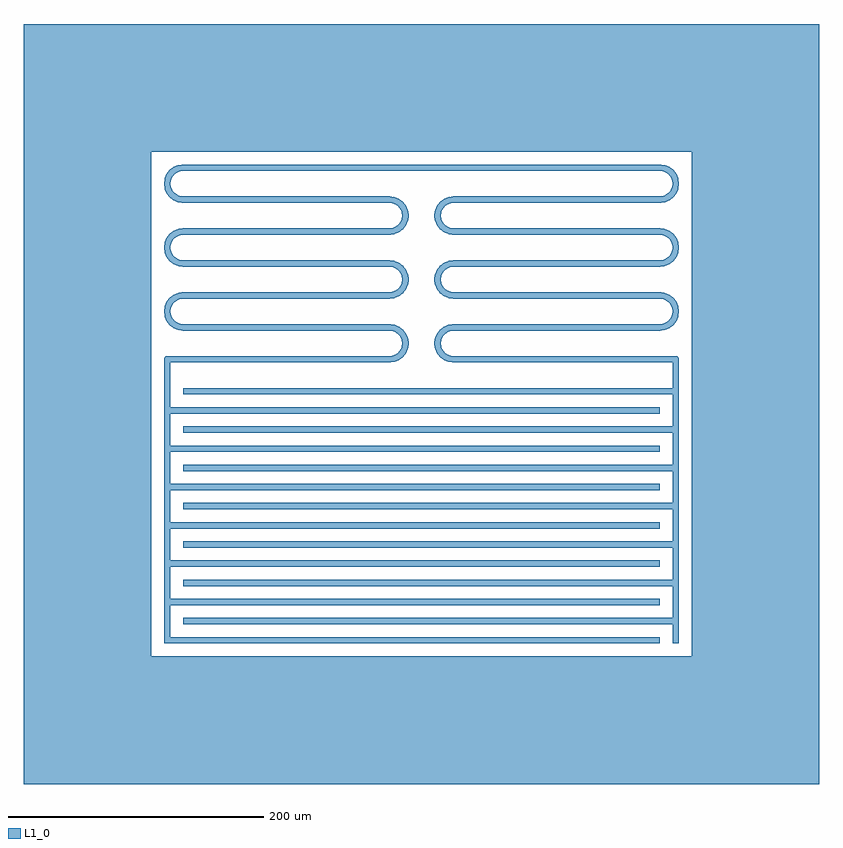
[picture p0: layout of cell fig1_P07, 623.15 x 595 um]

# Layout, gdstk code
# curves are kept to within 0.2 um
import gdstk
lib = gdstk.Library(unit=1e-6, precision=1e-09)
def R(c, l, rs):  # rectangles x0, y0, x1, y1
    for r in rs: c.add(gdstk.rectangle(r[:2], r[2:], *l))
def A(c, l, x, y, w, h, nx, ny, dx, dy):  # array of equal rectangles
    R(c, l, [(x+i*dx, y+j*dy, x+i*dx+w, y+j*dy+h) for i in range(nx) for j in range(ny)])
def P(c, l, *ps):  # polygons
    for p in ps: c.add(gdstk.Polygon(p, *l))
L1_0 = (1, 0)

fig1_p07 = lib.new_cell('fig1_P07')
A(fig1_p07, L1_0, -201.575, 0, 388.15, 5, 1, 7, 0, 30)
A(fig1_p07, L1_0, -186.575, 15, 388.15, 5, 1, 7, 0, 30)
A(fig1_p07, L1_0, -186.575, 245, 161.575, 5, 1, 5, 0, 25)
A(fig1_p07, L1_0, 25, 245, 161.575, 5, 1, 5, 0, 25)
R(fig1_p07, L1_0, [(-311.575,-110,311.575,-10), (-311.575,-10,-211.575,385), (211.575,-10,311.575,385), (-201.575,0,-196.575,200), (196.575,0,201.575,200), (-201.575,197.5,-196.575,222.5), (196.575,197.5,201.575,222.5), (-199.075,220,-25,225), (25,220,199.075,225), (-186.575,370,186.575,375), (-311.575,385,311.575,485)])
P(fig1_p07, L1_0, [(14.979,334.674),(10.021,335.326),(10.447,338.562),(15.405,337.909)],
  [(12.926,335.735),(11.158,336.467),(10.426,338.235),(11.158,340.003),(12.926,340.735),(14.694,340.003),(15.426,338.235),(14.694,336.467)],
  [(12.5,332.5),(10.732,333.232),(10,335),(10.732,336.768),(12.5,337.5),(14.268,336.768),(15,335),(14.268,333.232)],
  [(194.347,347.191),(191.303,351.158),(193.892,353.145),(196.936,349.178)],
  [(190.767,345.616),(188.854,350.236),(191.868,351.484),(193.782,346.865)],
  [(186.901,345.021),(186.249,349.979),(189.484,350.405),(190.137,345.447)],
  [(189.484,369.595),(186.249,370.021),(186.901,374.979),(190.137,374.553)],
  [(191.868,368.516),(188.854,369.764),(190.767,374.384),(193.782,373.135)],
  [(193.892,366.855),(191.303,368.842),(194.347,372.809),(196.936,370.822)],
  [(195.417,364.728),(193.43,367.317),(197.397,370.361),(199.384,367.772)],
  [(196.339,362.279),(195.091,365.293),(199.71,367.207),(200.959,364.192)],
  [(196.596,359.674),(196.17,362.909),(201.128,363.562),(201.554,360.326)],
  [(201.128,356.438),(196.17,357.091),(196.596,360.326),(201.554,359.674)],
  [(186.575,370),(184.807,370.732),(184.075,372.5),(184.807,374.268),(186.575,375),(188.343,374.268),(189.075,372.5),(188.343,370.732)],
  [(189.81,369.574),(188.042,370.306),(187.31,372.074),(188.042,373.842),(189.81,374.574),(191.578,373.842),(192.31,372.074),(191.578,370.306)],
  [(192.825,368.325),(191.057,369.058),(190.325,370.825),(191.057,372.593),(192.825,373.325),(194.593,372.593),(195.325,370.825),(194.593,369.058)],
  [(195.414,366.339),(193.646,367.071),(192.914,368.839),(193.646,370.607),(195.414,371.339),(197.182,370.607),(197.914,368.839),(197.182,367.071)],
  [(197.4,363.75),(195.633,364.482),(194.9,366.25),(195.633,368.018),(197.4,368.75),(199.168,368.018),(199.9,366.25),(199.168,364.482)],
  [(198.649,360.735),(196.881,361.467),(196.149,363.235),(196.881,365.003),(198.649,365.735),(200.417,365.003),(201.149,363.235),(200.417,361.467)],
  [(199.075,357.5),(197.307,358.232),(196.575,360),(197.307,361.768),(199.075,362.5),(200.843,361.768),(201.575,360),(200.843,358.232)],
  [(198.649,354.265),(196.881,354.997),(196.149,356.765),(196.881,358.533),(198.649,359.265),(200.417,358.533),(201.149,356.765),(200.417,354.997)],
  [(197.4,351.25),(195.633,351.982),(194.9,353.75),(195.633,355.518),(197.4,356.25),(199.168,355.518),(199.9,353.75),(199.168,351.982)],
  [(195.414,348.661),(193.646,349.393),(192.914,351.161),(193.646,352.929),(195.414,353.661),(197.182,352.929),(197.914,351.161),(197.182,349.393)],
  [(192.825,346.675),(191.057,347.407),(190.325,349.175),(191.057,350.942),(192.825,351.675),(194.593,350.942),(195.325,349.175),(194.593,347.407)],
  [(189.81,345.426),(188.042,346.158),(187.31,347.926),(188.042,349.694),(189.81,350.426),(191.578,349.694),(192.31,347.926),(191.578,346.158)],
  [(186.575,345),(184.807,345.732),(184.075,347.5),(184.807,349.268),(186.575,350),(188.343,349.268),(189.075,347.5),(188.343,345.732)],
  [(199.71,352.793),(195.091,354.707),(196.339,357.721),(200.959,355.808)],
  [(197.397,349.639),(193.43,352.683),(195.417,355.272),(199.384,352.228)],
  [(19.707,343.516),(17.793,348.135),(20.808,349.384),(22.721,344.764)],
  [(17.683,341.855),(14.639,345.822),(17.228,347.809),(20.272,343.842)],
  [(16.158,339.728),(12.191,342.772),(14.178,345.361),(18.145,342.317)],
  [(25,345),(23.232,345.732),(22.5,347.5),(23.232,349.268),(25,350),(26.768,349.268),(27.5,347.5),(26.768,345.732)],
  [(21.765,344.574),(19.997,345.306),(19.265,347.074),(19.997,348.842),(21.765,349.574),(23.533,348.842),(24.265,347.074),(23.533,345.306)],
  [(18.75,343.325),(16.982,344.058),(16.25,345.825),(16.982,347.593),(18.75,348.325),(20.518,347.593),(21.25,345.825),(20.518,344.058)],
  [(16.161,341.339),(14.393,342.071),(13.661,343.839),(14.393,345.607),(16.161,346.339),(17.929,345.607),(18.661,343.839),(17.929,342.071)],
  [(14.175,338.75),(12.407,339.482),(11.675,341.25),(12.407,343.018),(14.175,343.75),(15.942,343.018),(16.675,341.25),(15.942,339.482)],
  [(15.236,337.279),(10.616,339.192),(11.865,342.207),(16.484,340.293)],
  [(22.091,344.595),(21.438,349.553),(24.674,349.979),(25.326,345.021)],
  [(16.158,239.728),(12.191,242.772),(14.178,245.361),(18.145,242.317)],
  [(15.236,237.279),(10.616,239.192),(11.865,242.207),(16.484,240.293)],
  [(14.979,234.674),(10.021,235.326),(10.447,238.562),(15.405,237.909)],
  [(10.447,231.438),(10.021,234.674),(14.979,235.326),(15.405,232.091)],
  [(11.865,227.793),(10.616,230.808),(15.236,232.721),(16.484,229.707)],
  [(14.178,224.639),(12.191,227.228),(16.158,230.272),(18.145,227.683)],
  [(17.228,222.191),(14.639,224.178),(17.683,228.145),(20.272,226.158)],
  [(20.808,220.616),(17.793,221.865),(19.707,226.484),(22.721,225.236)],
  [(24.674,220.021),(21.438,220.447),(22.091,225.405),(25.326,224.979)],
  [(20.808,320.616),(17.793,321.865),(19.707,326.484),(22.721,325.236)],
  [(24.674,320.021),(21.438,320.447),(22.091,325.405),(25.326,324.979)],
  [(10.447,331.438),(10.021,334.674),(14.979,335.326),(15.405,332.091)],
  [(11.865,327.793),(10.616,330.808),(15.236,332.721),(16.484,329.707)],
  [(22.091,294.595),(21.438,299.553),(24.674,299.979),(25.326,295.021)],
  [(19.707,293.516),(17.793,298.135),(20.808,299.384),(22.721,294.764)],
  [(17.683,291.855),(14.639,295.822),(17.228,297.809),(20.272,293.842)],
  [(16.158,289.728),(12.191,292.772),(14.178,295.361),(18.145,292.317)],
  [(15.236,287.279),(10.616,289.192),(11.865,292.207),(16.484,290.293)],
  [(14.979,284.674),(10.021,285.326),(10.447,288.562),(15.405,287.909)],
  [(10.447,281.438),(10.021,284.674),(14.979,285.326),(15.405,282.091)],
  [(11.865,277.793),(10.616,280.808),(15.236,282.721),(16.484,279.707)],
  [(14.178,274.639),(12.191,277.228),(16.158,280.272),(18.145,277.683)],
  [(17.228,272.191),(14.639,274.178),(17.683,278.145),(20.272,276.158)],
  [(20.808,270.616),(17.793,271.865),(19.707,276.484),(22.721,275.236)],
  [(24.674,270.021),(21.438,270.447),(22.091,275.405),(25.326,274.979)],
  [(14.178,324.639),(12.191,327.228),(16.158,330.272),(18.145,327.683)],
  [(17.228,322.191),(14.639,324.178),(17.683,328.145),(20.272,326.158)],
  [(22.091,244.595),(21.438,249.553),(24.674,249.979),(25.326,245.021)],
  [(19.707,243.516),(17.793,248.135),(20.808,249.384),(22.721,244.764)],
  [(17.683,241.855),(14.639,245.822),(17.228,247.809),(20.272,243.842)],
  [(12.926,329.265),(11.158,329.997),(10.426,331.765),(11.158,333.533),(12.926,334.265),(14.694,333.533),(15.426,331.765),(14.694,329.997)],
  [(14.175,326.25),(12.407,326.982),(11.675,328.75),(12.407,330.518),(14.175,331.25),(15.942,330.518),(16.675,328.75),(15.942,326.982)],
  [(16.161,323.661),(14.393,324.393),(13.661,326.161),(14.393,327.929),(16.161,328.661),(17.929,327.929),(18.661,326.161),(17.929,324.393)],
  [(18.75,321.675),(16.982,322.407),(16.25,324.175),(16.982,325.942),(18.75,326.675),(20.518,325.942),(21.25,324.175),(20.518,322.407)],
  [(21.765,320.426),(19.997,321.158),(19.265,322.926),(19.997,324.694),(21.765,325.426),(23.533,324.694),(24.265,322.926),(23.533,321.158)],
  [(25,320),(23.232,320.732),(22.5,322.5),(23.232,324.268),(25,325),(26.768,324.268),(27.5,322.5),(26.768,320.732)],
  [(25,295),(23.232,295.732),(22.5,297.5),(23.232,299.268),(25,300),(26.768,299.268),(27.5,297.5),(26.768,295.732)],
  [(21.765,294.574),(19.997,295.306),(19.265,297.074),(19.997,298.842),(21.765,299.574),(23.533,298.842),(24.265,297.074),(23.533,295.306)],
  [(18.75,293.325),(16.982,294.058),(16.25,295.825),(16.982,297.593),(18.75,298.325),(20.518,297.593),(21.25,295.825),(20.518,294.058)],
  [(16.161,291.339),(14.393,292.071),(13.661,293.839),(14.393,295.607),(16.161,296.339),(17.929,295.607),(18.661,293.839),(17.929,292.071)],
  [(14.175,288.75),(12.407,289.482),(11.675,291.25),(12.407,293.018),(14.175,293.75),(15.942,293.018),(16.675,291.25),(15.942,289.482)],
  [(12.926,285.735),(11.158,286.467),(10.426,288.235),(11.158,290.003),(12.926,290.735),(14.694,290.003),(15.426,288.235),(14.694,286.467)],
  [(12.5,282.5),(10.732,283.232),(10,285),(10.732,286.768),(12.5,287.5),(14.268,286.768),(15,285),(14.268,283.232)],
  [(12.926,279.265),(11.158,279.997),(10.426,281.765),(11.158,283.533),(12.926,284.265),(14.694,283.533),(15.426,281.765),(14.694,279.997)],
  [(14.175,276.25),(12.407,276.982),(11.675,278.75),(12.407,280.518),(14.175,281.25),(15.942,280.518),(16.675,278.75),(15.942,276.982)],
  [(16.161,273.661),(14.393,274.393),(13.661,276.161),(14.393,277.929),(16.161,278.661),(17.929,277.929),(18.661,276.161),(17.929,274.393)],
  [(18.75,271.675),(16.982,272.407),(16.25,274.175),(16.982,275.942),(18.75,276.675),(20.518,275.942),(21.25,274.175),(20.518,272.407)],
  [(21.765,270.426),(19.997,271.158),(19.265,272.926),(19.997,274.694),(21.765,275.426),(23.533,274.694),(24.265,272.926),(23.533,271.158)],
  [(25,270),(23.232,270.732),(22.5,272.5),(23.232,274.268),(25,275),(26.768,274.268),(27.5,272.5),(26.768,270.732)],
  [(25,245),(23.232,245.732),(22.5,247.5),(23.232,249.268),(25,250),(26.768,249.268),(27.5,247.5),(26.768,245.732)],
  [(21.765,244.574),(19.997,245.306),(19.265,247.074),(19.997,248.842),(21.765,249.574),(23.533,248.842),(24.265,247.074),(23.533,245.306)],
  [(18.75,243.325),(16.982,244.058),(16.25,245.825),(16.982,247.593),(18.75,248.325),(20.518,247.593),(21.25,245.825),(20.518,244.058)],
  [(16.161,241.339),(14.393,242.071),(13.661,243.839),(14.393,245.607),(16.161,246.339),(17.929,245.607),(18.661,243.839),(17.929,242.071)],
  [(14.175,238.75),(12.407,239.482),(11.675,241.25),(12.407,243.018),(14.175,243.75),(15.942,243.018),(16.675,241.25),(15.942,239.482)],
  [(12.926,235.735),(11.158,236.467),(10.426,238.235),(11.158,240.003),(12.926,240.735),(14.694,240.003),(15.426,238.235),(14.694,236.467)],
  [(12.5,232.5),(10.732,233.232),(10,235),(10.732,236.768),(12.5,237.5),(14.268,236.768),(15,235),(14.268,233.232)],
  [(12.926,229.265),(11.158,229.997),(10.426,231.765),(11.158,233.533),(12.926,234.265),(14.694,233.533),(15.426,231.765),(14.694,229.997)],
  [(14.175,226.25),(12.407,226.982),(11.675,228.75),(12.407,230.518),(14.175,231.25),(15.942,230.518),(16.675,228.75),(15.942,226.982)],
  [(16.161,223.661),(14.393,224.393),(13.661,226.161),(14.393,227.929),(16.161,228.661),(17.929,227.929),(18.661,226.161),(17.929,224.393)],
  [(18.75,221.675),(16.982,222.407),(16.25,224.175),(16.982,225.942),(18.75,226.675),(20.518,225.942),(21.25,224.175),(20.518,222.407)],
  [(21.765,220.426),(19.997,221.158),(19.265,222.926),(19.997,224.694),(21.765,225.426),(23.533,224.694),(24.265,222.926),(23.533,221.158)],
  [(25,220),(23.232,220.732),(22.5,222.5),(23.232,224.268),(25,225),(26.768,224.268),(27.5,222.5),(26.768,220.732)],
  [(189.81,319.574),(188.042,320.306),(187.31,322.074),(188.042,323.842),(189.81,324.574),(191.578,323.842),(192.31,322.074),(191.578,320.306)],
  [(192.825,318.325),(191.057,319.058),(190.325,320.825),(191.057,322.593),(192.825,323.325),(194.593,322.593),(195.325,320.825),(194.593,319.058)],
  [(195.414,316.339),(193.646,317.071),(192.914,318.839),(193.646,320.607),(195.414,321.339),(197.182,320.607),(197.914,318.839),(197.182,317.071)],
  [(197.4,313.75),(195.633,314.482),(194.9,316.25),(195.633,318.018),(197.4,318.75),(199.168,318.018),(199.9,316.25),(199.168,314.482)],
  [(198.649,310.735),(196.881,311.467),(196.149,313.235),(196.881,315.003),(198.649,315.735),(200.417,315.003),(201.149,313.235),(200.417,311.467)],
  [(199.075,307.5),(197.307,308.232),(196.575,310),(197.307,311.768),(199.075,312.5),(200.843,311.768),(201.575,310),(200.843,308.232)],
  [(198.649,304.265),(196.881,304.997),(196.149,306.765),(196.881,308.533),(198.649,309.265),(200.417,308.533),(201.149,306.765),(200.417,304.997)],
  [(197.4,301.25),(195.633,301.982),(194.9,303.75),(195.633,305.518),(197.4,306.25),(199.168,305.518),(199.9,303.75),(199.168,301.982)],
  [(195.414,298.661),(193.646,299.393),(192.914,301.161),(193.646,302.929),(195.414,303.661),(197.182,302.929),(197.914,301.161),(197.182,299.393)],
  [(192.825,296.675),(191.057,297.407),(190.325,299.175),(191.057,300.942),(192.825,301.675),(194.593,300.942),(195.325,299.175),(194.593,297.407)],
  [(189.81,295.426),(188.042,296.158),(187.31,297.926),(188.042,299.694),(189.81,300.426),(191.578,299.694),(192.31,297.926),(191.578,296.158)],
  [(186.575,295),(184.807,295.732),(184.075,297.5),(184.807,299.268),(186.575,300),(188.343,299.268),(189.075,297.5),(188.343,295.732)],
  [(193.892,266.855),(191.303,268.842),(194.347,272.809),(196.936,270.822)],
  [(195.417,264.728),(193.43,267.317),(197.397,270.361),(199.384,267.772)],
  [(196.339,262.279),(195.091,265.293),(199.71,267.207),(200.959,264.192)],
  [(196.596,259.674),(196.17,262.909),(201.128,263.562),(201.554,260.326)],
  [(201.128,256.438),(196.17,257.091),(196.596,260.326),(201.554,259.674)],
  [(199.71,252.793),(195.091,254.707),(196.339,257.721),(200.959,255.808)],
  [(197.397,249.639),(193.43,252.683),(195.417,255.272),(199.384,252.228)],
  [(194.347,247.191),(191.303,251.158),(193.892,253.145),(196.936,249.178)],
  [(190.767,245.616),(188.854,250.236),(191.868,251.484),(193.782,246.865)],
  [(186.901,245.021),(186.249,249.979),(189.484,250.405),(190.137,245.447)],
  [(189.484,319.595),(186.249,320.021),(186.901,324.979),(190.137,324.553)],
  [(191.868,318.516),(188.854,319.764),(190.767,324.384),(193.782,323.135)],
  [(193.892,316.855),(191.303,318.842),(194.347,322.809),(196.936,320.822)],
  [(186.575,270),(184.807,270.732),(184.075,272.5),(184.807,274.268),(186.575,275),(188.343,274.268),(189.075,272.5),(188.343,270.732)],
  [(189.81,269.574),(188.042,270.306),(187.31,272.074),(188.042,273.842),(189.81,274.574),(191.578,273.842),(192.31,272.074),(191.578,270.306)],
  [(192.825,268.325),(191.057,269.058),(190.325,270.825),(191.057,272.593),(192.825,273.325),(194.593,272.593),(195.325,270.825),(194.593,269.058)],
  [(195.414,266.339),(193.646,267.071),(192.914,268.839),(193.646,270.607),(195.414,271.339),(197.182,270.607),(197.914,268.839),(197.182,267.071)],
  [(197.4,263.75),(195.633,264.482),(194.9,266.25),(195.633,268.018),(197.4,268.75),(199.168,268.018),(199.9,266.25),(199.168,264.482)],
  [(198.649,260.735),(196.881,261.467),(196.149,263.235),(196.881,265.003),(198.649,265.735),(200.417,265.003),(201.149,263.235),(200.417,261.467)],
  [(199.075,257.5),(197.307,258.232),(196.575,260),(197.307,261.768),(199.075,262.5),(200.843,261.768),(201.575,260),(200.843,258.232)],
  [(198.649,254.265),(196.881,254.997),(196.149,256.765),(196.881,258.533),(198.649,259.265),(200.417,258.533),(201.149,256.765),(200.417,254.997)],
  [(197.4,251.25),(195.633,251.982),(194.9,253.75),(195.633,255.518),(197.4,256.25),(199.168,255.518),(199.9,253.75),(199.168,251.982)],
  [(195.414,248.661),(193.646,249.393),(192.914,251.161),(193.646,252.929),(195.414,253.661),(197.182,252.929),(197.914,251.161),(197.182,249.393)],
  [(192.825,246.675),(191.057,247.407),(190.325,249.175),(191.057,250.942),(192.825,251.675),(194.593,250.942),(195.325,249.175),(194.593,247.407)],
  [(189.81,245.426),(188.042,246.158),(187.31,247.926),(188.042,249.694),(189.81,250.426),(191.578,249.694),(192.31,247.926),(191.578,246.158)],
  [(186.575,245),(184.807,245.732),(184.075,247.5),(184.807,249.268),(186.575,250),(188.343,249.268),(189.075,247.5),(188.343,245.732)],
  [(195.417,314.728),(193.43,317.317),(197.397,320.361),(199.384,317.772)],
  [(196.339,312.279),(195.091,315.293),(199.71,317.207),(200.959,314.192)],
  [(196.596,309.674),(196.17,312.909),(201.128,313.562),(201.554,310.326)],
  [(201.128,306.438),(196.17,307.091),(196.596,310.326),(201.554,309.674)],
  [(199.71,302.793),(195.091,304.707),(196.339,307.721),(200.959,305.808)],
  [(197.397,299.639),(193.43,302.683),(195.417,305.272),(199.384,302.228)],
  [(194.347,297.191),(191.303,301.158),(193.892,303.145),(196.936,299.178)],
  [(190.767,295.616),(188.854,300.236),(191.868,301.484),(193.782,296.865)],
  [(186.901,295.021),(186.249,299.979),(189.484,300.405),(190.137,295.447)],
  [(189.484,269.595),(186.249,270.021),(186.901,274.979),(190.137,274.553)],
  [(191.868,268.516),(188.854,269.764),(190.767,274.384),(193.782,273.135)],
  [(186.575,320),(184.807,320.732),(184.075,322.5),(184.807,324.268),(186.575,325),(188.343,324.268),(189.075,322.5),(188.343,320.732)],
  [(199.075,220),(197.307,220.732),(196.575,222.5),(197.307,224.268),(199.075,225),(200.843,224.268),(201.575,222.5),(200.843,220.732)],
  [(-12.5,332.5),(-14.268,333.232),(-15,335),(-14.268,336.768),(-12.5,337.5),(-10.732,336.768),(-10,335),(-10.732,333.232)],
  [(-12.926,335.735),(-14.694,336.467),(-15.426,338.235),(-14.694,340.003),(-12.926,340.735),(-11.158,340.003),(-10.426,338.235),(-11.158,336.467)],
  [(-14.979,334.674),(-15.405,337.909),(-10.447,338.562),(-10.021,335.326)],
  [(-18.75,343.325),(-20.518,344.058),(-21.25,345.825),(-20.518,347.593),(-18.75,348.325),(-16.982,347.593),(-16.25,345.825),(-16.982,344.058)],
  [(-21.765,344.574),(-23.533,345.306),(-24.265,347.074),(-23.533,348.842),(-21.765,349.574),(-19.997,348.842),(-19.265,347.074),(-19.997,345.306)],
  [(-25,345),(-26.768,345.732),(-27.5,347.5),(-26.768,349.268),(-25,350),(-23.232,349.268),(-22.5,347.5),(-23.232,345.732)],
  [(-14.175,338.75),(-15.942,339.482),(-16.675,341.25),(-15.942,343.018),(-14.175,343.75),(-12.407,343.018),(-11.675,341.25),(-12.407,339.482)],
  [(-15.236,337.279),(-16.484,340.293),(-11.865,342.207),(-10.616,339.192)],
  [(-16.158,339.728),(-18.145,342.317),(-14.178,345.361),(-12.191,342.772)],
  [(-17.683,341.855),(-20.272,343.842),(-17.228,347.809),(-14.639,345.822)],
  [(-19.707,343.516),(-22.721,344.764),(-20.808,349.384),(-17.793,348.135)],
  [(-22.091,344.595),(-25.326,345.021),(-24.674,349.979),(-21.438,349.553)],
  [(-16.161,341.339),(-17.929,342.071),(-18.661,343.839),(-17.929,345.607),(-16.161,346.339),(-14.393,345.607),(-13.661,343.839),(-14.393,342.071)],
  [(-186.575,370),(-188.343,370.732),(-189.075,372.5),(-188.343,374.268),(-186.575,375),(-184.807,374.268),(-184.075,372.5),(-184.807,370.732)],
  [(-186.575,345),(-188.343,345.732),(-189.075,347.5),(-188.343,349.268),(-186.575,350),(-184.807,349.268),(-184.075,347.5),(-184.807,345.732)],
  [(-189.81,345.426),(-191.578,346.158),(-192.31,347.926),(-191.578,349.694),(-189.81,350.426),(-188.042,349.694),(-187.31,347.926),(-188.042,346.158)],
  [(-192.825,346.675),(-194.593,347.407),(-195.325,349.175),(-194.593,350.942),(-192.825,351.675),(-191.057,350.942),(-190.325,349.175),(-191.057,347.407)],
  [(-195.414,348.661),(-197.182,349.393),(-197.914,351.161),(-197.182,352.929),(-195.414,353.661),(-193.646,352.929),(-192.914,351.161),(-193.646,349.393)],
  [(-197.4,351.25),(-199.168,351.982),(-199.9,353.75),(-199.168,355.518),(-197.4,356.25),(-195.633,355.518),(-194.9,353.75),(-195.633,351.982)],
  [(-198.649,354.265),(-200.417,354.997),(-201.149,356.765),(-200.417,358.533),(-198.649,359.265),(-196.881,358.533),(-196.149,356.765),(-196.881,354.997)],
  [(-199.075,357.5),(-200.843,358.232),(-201.575,360),(-200.843,361.768),(-199.075,362.5),(-197.307,361.768),(-196.575,360),(-197.307,358.232)],
  [(-198.649,360.735),(-200.417,361.467),(-201.149,363.235),(-200.417,365.003),(-198.649,365.735),(-196.881,365.003),(-196.149,363.235),(-196.881,361.467)],
  [(-197.4,363.75),(-199.168,364.482),(-199.9,366.25),(-199.168,368.018),(-197.4,368.75),(-195.633,368.018),(-194.9,366.25),(-195.633,364.482)],
  [(-195.414,366.339),(-197.182,367.071),(-197.914,368.839),(-197.182,370.607),(-195.414,371.339),(-193.646,370.607),(-192.914,368.839),(-193.646,367.071)],
  [(-192.825,368.325),(-194.593,369.058),(-195.325,370.825),(-194.593,372.593),(-192.825,373.325),(-191.057,372.593),(-190.325,370.825),(-191.057,369.058)],
  [(-189.81,369.574),(-191.578,370.306),(-192.31,372.074),(-191.578,373.842),(-189.81,374.574),(-188.042,373.842),(-187.31,372.074),(-188.042,370.306)],
  [(-186.901,345.021),(-190.137,345.447),(-189.484,350.405),(-186.249,349.979)],
  [(-190.767,345.616),(-193.782,346.865),(-191.868,351.484),(-188.854,350.236)],
  [(-194.347,347.191),(-196.936,349.178),(-193.892,353.145),(-191.303,351.158)],
  [(-197.397,349.639),(-199.384,352.228),(-195.417,355.272),(-193.43,352.683)],
  [(-199.71,352.793),(-200.959,355.808),(-196.339,357.721),(-195.091,354.707)],
  [(-201.128,356.438),(-201.554,359.674),(-196.596,360.326),(-196.17,357.091)],
  [(-196.596,359.674),(-201.554,360.326),(-201.128,363.562),(-196.17,362.909)],
  [(-196.339,362.279),(-200.959,364.192),(-199.71,367.207),(-195.091,365.293)],
  [(-195.417,364.728),(-199.384,367.772),(-197.397,370.361),(-193.43,367.317)],
  [(-193.892,366.855),(-196.936,370.822),(-194.347,372.809),(-191.303,368.842)],
  [(-191.868,368.516),(-193.782,373.135),(-190.767,374.384),(-188.854,369.764)],
  [(-189.484,369.595),(-190.137,374.553),(-186.901,374.979),(-186.249,370.021)],
  [(-195.414,298.661),(-197.182,299.393),(-197.914,301.161),(-197.182,302.929),(-195.414,303.661),(-193.646,302.929),(-192.914,301.161),(-193.646,299.393)],
  [(-197.4,301.25),(-199.168,301.982),(-199.9,303.75),(-199.168,305.518),(-197.4,306.25),(-195.633,305.518),(-194.9,303.75),(-195.633,301.982)],
  [(-198.649,304.265),(-200.417,304.997),(-201.149,306.765),(-200.417,308.533),(-198.649,309.265),(-196.881,308.533),(-196.149,306.765),(-196.881,304.997)],
  [(-199.075,307.5),(-200.843,308.232),(-201.575,310),(-200.843,311.768),(-199.075,312.5),(-197.307,311.768),(-196.575,310),(-197.307,308.232)],
  [(-198.649,310.735),(-200.417,311.467),(-201.149,313.235),(-200.417,315.003),(-198.649,315.735),(-196.881,315.003),(-196.149,313.235),(-196.881,311.467)],
  [(-186.901,245.021),(-190.137,245.447),(-189.484,250.405),(-186.249,249.979)],
  [(-190.767,245.616),(-193.782,246.865),(-191.868,251.484),(-188.854,250.236)],
  [(-194.347,247.191),(-196.936,249.178),(-193.892,253.145),(-191.303,251.158)],
  [(-197.397,249.639),(-199.384,252.228),(-195.417,255.272),(-193.43,252.683)],
  [(-199.71,252.793),(-200.959,255.808),(-196.339,257.721),(-195.091,254.707)],
  [(-201.128,256.438),(-201.554,259.674),(-196.596,260.326),(-196.17,257.091)],
  [(-196.596,259.674),(-201.554,260.326),(-201.128,263.562),(-196.17,262.909)],
  [(-196.339,262.279),(-200.959,264.192),(-199.71,267.207),(-195.091,265.293)],
  [(-195.417,264.728),(-199.384,267.772),(-197.397,270.361),(-193.43,267.317)],
  [(-193.892,266.855),(-196.936,270.822),(-194.347,272.809),(-191.303,268.842)],
  [(-191.868,268.516),(-193.782,273.135),(-190.767,274.384),(-188.854,269.764)],
  [(-189.484,269.595),(-190.137,274.553),(-186.901,274.979),(-186.249,270.021)],
  [(-197.4,313.75),(-199.168,314.482),(-199.9,316.25),(-199.168,318.018),(-197.4,318.75),(-195.633,318.018),(-194.9,316.25),(-195.633,314.482)],
  [(-195.414,316.339),(-197.182,317.071),(-197.914,318.839),(-197.182,320.607),(-195.414,321.339),(-193.646,320.607),(-192.914,318.839),(-193.646,317.071)],
  [(-186.901,295.021),(-190.137,295.447),(-189.484,300.405),(-186.249,299.979)],
  [(-190.767,295.616),(-193.782,296.865),(-191.868,301.484),(-188.854,300.236)],
  [(-194.347,297.191),(-196.936,299.178),(-193.892,303.145),(-191.303,301.158)],
  [(-197.397,299.639),(-199.384,302.228),(-195.417,305.272),(-193.43,302.683)],
  [(-199.71,302.793),(-200.959,305.808),(-196.339,307.721),(-195.091,304.707)],
  [(-201.128,306.438),(-201.554,309.674),(-196.596,310.326),(-196.17,307.091)],
  [(-196.596,309.674),(-201.554,310.326),(-201.128,313.562),(-196.17,312.909)],
  [(-196.339,312.279),(-200.959,314.192),(-199.71,317.207),(-195.091,315.293)],
  [(-195.417,314.728),(-199.384,317.772),(-197.397,320.361),(-193.43,317.317)],
  [(-193.892,316.855),(-196.936,320.822),(-194.347,322.809),(-191.303,318.842)],
  [(-191.868,318.516),(-193.782,323.135),(-190.767,324.384),(-188.854,319.764)],
  [(-189.484,319.595),(-190.137,324.553),(-186.901,324.979),(-186.249,320.021)],
  [(-192.825,318.325),(-194.593,319.058),(-195.325,320.825),(-194.593,322.593),(-192.825,323.325),(-191.057,322.593),(-190.325,320.825),(-191.057,319.058)],
  [(-189.81,319.574),(-191.578,320.306),(-192.31,322.074),(-191.578,323.842),(-189.81,324.574),(-188.042,323.842),(-187.31,322.074),(-188.042,320.306)],
  [(-186.575,320),(-188.343,320.732),(-189.075,322.5),(-188.343,324.268),(-186.575,325),(-184.807,324.268),(-184.075,322.5),(-184.807,320.732)],
  [(-199.075,220),(-200.843,220.732),(-201.575,222.5),(-200.843,224.268),(-199.075,225),(-197.307,224.268),(-196.575,222.5),(-197.307,220.732)],
  [(-186.575,245),(-188.343,245.732),(-189.075,247.5),(-188.343,249.268),(-186.575,250),(-184.807,249.268),(-184.075,247.5),(-184.807,245.732)],
  [(-189.81,245.426),(-191.578,246.158),(-192.31,247.926),(-191.578,249.694),(-189.81,250.426),(-188.042,249.694),(-187.31,247.926),(-188.042,246.158)],
  [(-192.825,246.675),(-194.593,247.407),(-195.325,249.175),(-194.593,250.942),(-192.825,251.675),(-191.057,250.942),(-190.325,249.175),(-191.057,247.407)],
  [(-195.414,248.661),(-197.182,249.393),(-197.914,251.161),(-197.182,252.929),(-195.414,253.661),(-193.646,252.929),(-192.914,251.161),(-193.646,249.393)],
  [(-197.4,251.25),(-199.168,251.982),(-199.9,253.75),(-199.168,255.518),(-197.4,256.25),(-195.633,255.518),(-194.9,253.75),(-195.633,251.982)],
  [(-198.649,254.265),(-200.417,254.997),(-201.149,256.765),(-200.417,258.533),(-198.649,259.265),(-196.881,258.533),(-196.149,256.765),(-196.881,254.997)],
  [(-199.075,257.5),(-200.843,258.232),(-201.575,260),(-200.843,261.768),(-199.075,262.5),(-197.307,261.768),(-196.575,260),(-197.307,258.232)],
  [(-198.649,260.735),(-200.417,261.467),(-201.149,263.235),(-200.417,265.003),(-198.649,265.735),(-196.881,265.003),(-196.149,263.235),(-196.881,261.467)],
  [(-197.4,263.75),(-199.168,264.482),(-199.9,266.25),(-199.168,268.018),(-197.4,268.75),(-195.633,268.018),(-194.9,266.25),(-195.633,264.482)],
  [(-195.414,266.339),(-197.182,267.071),(-197.914,268.839),(-197.182,270.607),(-195.414,271.339),(-193.646,270.607),(-192.914,268.839),(-193.646,267.071)],
  [(-192.825,268.325),(-194.593,269.058),(-195.325,270.825),(-194.593,272.593),(-192.825,273.325),(-191.057,272.593),(-190.325,270.825),(-191.057,269.058)],
  [(-189.81,269.574),(-191.578,270.306),(-192.31,272.074),(-191.578,273.842),(-189.81,274.574),(-188.042,273.842),(-187.31,272.074),(-188.042,270.306)],
  [(-186.575,270),(-188.343,270.732),(-189.075,272.5),(-188.343,274.268),(-186.575,275),(-184.807,274.268),(-184.075,272.5),(-184.807,270.732)],
  [(-186.575,295),(-188.343,295.732),(-189.075,297.5),(-188.343,299.268),(-186.575,300),(-184.807,299.268),(-184.075,297.5),(-184.807,295.732)],
  [(-189.81,295.426),(-191.578,296.158),(-192.31,297.926),(-191.578,299.694),(-189.81,300.426),(-188.042,299.694),(-187.31,297.926),(-188.042,296.158)],
  [(-192.825,296.675),(-194.593,297.407),(-195.325,299.175),(-194.593,300.942),(-192.825,301.675),(-191.057,300.942),(-190.325,299.175),(-191.057,297.407)],
  [(-25,245),(-26.768,245.732),(-27.5,247.5),(-26.768,249.268),(-25,250),(-23.232,249.268),(-22.5,247.5),(-23.232,245.732)],
  [(-25,320),(-26.768,320.732),(-27.5,322.5),(-26.768,324.268),(-25,325),(-23.232,324.268),(-22.5,322.5),(-23.232,320.732)],
  [(-21.765,320.426),(-23.533,321.158),(-24.265,322.926),(-23.533,324.694),(-21.765,325.426),(-19.997,324.694),(-19.265,322.926),(-19.997,321.158)],
  [(-18.75,321.675),(-20.518,322.407),(-21.25,324.175),(-20.518,325.942),(-18.75,326.675),(-16.982,325.942),(-16.25,324.175),(-16.982,322.407)],
  [(-16.161,323.661),(-17.929,324.393),(-18.661,326.161),(-17.929,327.929),(-16.161,328.661),(-14.393,327.929),(-13.661,326.161),(-14.393,324.393)],
  [(-14.175,326.25),(-15.942,326.982),(-16.675,328.75),(-15.942,330.518),(-14.175,331.25),(-12.407,330.518),(-11.675,328.75),(-12.407,326.982)],
  [(-12.926,329.265),(-14.694,329.997),(-15.426,331.765),(-14.694,333.533),(-12.926,334.265),(-11.158,333.533),(-10.426,331.765),(-11.158,329.997)],
  [(-25,270),(-26.768,270.732),(-27.5,272.5),(-26.768,274.268),(-25,275),(-23.232,274.268),(-22.5,272.5),(-23.232,270.732)],
  [(-21.765,270.426),(-23.533,271.158),(-24.265,272.926),(-23.533,274.694),(-21.765,275.426),(-19.997,274.694),(-19.265,272.926),(-19.997,271.158)],
  [(-18.75,271.675),(-20.518,272.407),(-21.25,274.175),(-20.518,275.942),(-18.75,276.675),(-16.982,275.942),(-16.25,274.175),(-16.982,272.407)],
  [(-16.161,273.661),(-17.929,274.393),(-18.661,276.161),(-17.929,277.929),(-16.161,278.661),(-14.393,277.929),(-13.661,276.161),(-14.393,274.393)],
  [(-24.674,270.021),(-25.326,274.979),(-22.091,275.405),(-21.438,270.447)],
  [(-20.808,270.616),(-22.721,275.236),(-19.707,276.484),(-17.793,271.865)],
  [(-17.228,272.191),(-20.272,276.158),(-17.683,278.145),(-14.639,274.178)],
  [(-14.178,274.639),(-18.145,277.683),(-16.158,280.272),(-12.191,277.228)],
  [(-11.865,277.793),(-16.484,279.707),(-15.236,282.721),(-10.616,280.808)],
  [(-10.447,281.438),(-15.405,282.091),(-14.979,285.326),(-10.021,284.674)],
  [(-14.979,284.674),(-15.405,287.909),(-10.447,288.562),(-10.021,285.326)],
  [(-15.236,287.279),(-16.484,290.293),(-11.865,292.207),(-10.616,289.192)],
  [(-16.158,289.728),(-18.145,292.317),(-14.178,295.361),(-12.191,292.772)],
  [(-17.683,291.855),(-20.272,293.842),(-17.228,297.809),(-14.639,295.822)],
  [(-19.707,293.516),(-22.721,294.764),(-20.808,299.384),(-17.793,298.135)],
  [(-22.091,294.595),(-25.326,295.021),(-24.674,299.979),(-21.438,299.553)],
  [(-14.175,276.25),(-15.942,276.982),(-16.675,278.75),(-15.942,280.518),(-14.175,281.25),(-12.407,280.518),(-11.675,278.75),(-12.407,276.982)],
  [(-12.926,279.265),(-14.694,279.997),(-15.426,281.765),(-14.694,283.533),(-12.926,284.265),(-11.158,283.533),(-10.426,281.765),(-11.158,279.997)],
  [(-12.5,282.5),(-14.268,283.232),(-15,285),(-14.268,286.768),(-12.5,287.5),(-10.732,286.768),(-10,285),(-10.732,283.232)],
  [(-12.926,285.735),(-14.694,286.467),(-15.426,288.235),(-14.694,290.003),(-12.926,290.735),(-11.158,290.003),(-10.426,288.235),(-11.158,286.467)],
  [(-14.175,288.75),(-15.942,289.482),(-16.675,291.25),(-15.942,293.018),(-14.175,293.75),(-12.407,293.018),(-11.675,291.25),(-12.407,289.482)],
  [(-16.161,291.339),(-17.929,292.071),(-18.661,293.839),(-17.929,295.607),(-16.161,296.339),(-14.393,295.607),(-13.661,293.839),(-14.393,292.071)],
  [(-18.75,293.325),(-20.518,294.058),(-21.25,295.825),(-20.518,297.593),(-18.75,298.325),(-16.982,297.593),(-16.25,295.825),(-16.982,294.058)],
  [(-21.765,294.574),(-23.533,295.306),(-24.265,297.074),(-23.533,298.842),(-21.765,299.574),(-19.997,298.842),(-19.265,297.074),(-19.997,295.306)],
  [(-25,295),(-26.768,295.732),(-27.5,297.5),(-26.768,299.268),(-25,300),(-23.232,299.268),(-22.5,297.5),(-23.232,295.732)],
  [(-25,220),(-26.768,220.732),(-27.5,222.5),(-26.768,224.268),(-25,225),(-23.232,224.268),(-22.5,222.5),(-23.232,220.732)],
  [(-21.765,220.426),(-23.533,221.158),(-24.265,222.926),(-23.533,224.694),(-21.765,225.426),(-19.997,224.694),(-19.265,222.926),(-19.997,221.158)],
  [(-18.75,221.675),(-20.518,222.407),(-21.25,224.175),(-20.518,225.942),(-18.75,226.675),(-16.982,225.942),(-16.25,224.175),(-16.982,222.407)],
  [(-16.161,223.661),(-17.929,224.393),(-18.661,226.161),(-17.929,227.929),(-16.161,228.661),(-14.393,227.929),(-13.661,226.161),(-14.393,224.393)],
  [(-14.175,226.25),(-15.942,226.982),(-16.675,228.75),(-15.942,230.518),(-14.175,231.25),(-12.407,230.518),(-11.675,228.75),(-12.407,226.982)],
  [(-24.674,320.021),(-25.326,324.979),(-22.091,325.405),(-21.438,320.447)],
  [(-20.808,320.616),(-22.721,325.236),(-19.707,326.484),(-17.793,321.865)],
  [(-17.228,322.191),(-20.272,326.158),(-17.683,328.145),(-14.639,324.178)],
  [(-14.178,324.639),(-18.145,327.683),(-16.158,330.272),(-12.191,327.228)],
  [(-11.865,327.793),(-16.484,329.707),(-15.236,332.721),(-10.616,330.808)],
  [(-10.447,331.438),(-15.405,332.091),(-14.979,335.326),(-10.021,334.674)],
  [(-12.926,229.265),(-14.694,229.997),(-15.426,231.765),(-14.694,233.533),(-12.926,234.265),(-11.158,233.533),(-10.426,231.765),(-11.158,229.997)],
  [(-12.5,232.5),(-14.268,233.232),(-15,235),(-14.268,236.768),(-12.5,237.5),(-10.732,236.768),(-10,235),(-10.732,233.232)],
  [(-12.926,235.735),(-14.694,236.467),(-15.426,238.235),(-14.694,240.003),(-12.926,240.735),(-11.158,240.003),(-10.426,238.235),(-11.158,236.467)],
  [(-14.175,238.75),(-15.942,239.482),(-16.675,241.25),(-15.942,243.018),(-14.175,243.75),(-12.407,243.018),(-11.675,241.25),(-12.407,239.482)],
  [(-24.674,220.021),(-25.326,224.979),(-22.091,225.405),(-21.438,220.447)],
  [(-20.808,220.616),(-22.721,225.236),(-19.707,226.484),(-17.793,221.865)],
  [(-17.228,222.191),(-20.272,226.158),(-17.683,228.145),(-14.639,224.178)],
  [(-14.178,224.639),(-18.145,227.683),(-16.158,230.272),(-12.191,227.228)],
  [(-11.865,227.793),(-16.484,229.707),(-15.236,232.721),(-10.616,230.808)],
  [(-10.447,231.438),(-15.405,232.091),(-14.979,235.326),(-10.021,234.674)],
  [(-14.979,234.674),(-15.405,237.909),(-10.447,238.562),(-10.021,235.326)],
  [(-15.236,237.279),(-16.484,240.293),(-11.865,242.207),(-10.616,239.192)],
  [(-16.158,239.728),(-18.145,242.317),(-14.178,245.361),(-12.191,242.772)],
  [(-17.683,241.855),(-20.272,243.842),(-17.228,247.809),(-14.639,245.822)],
  [(-19.707,243.516),(-22.721,244.764),(-20.808,249.384),(-17.793,248.135)],
  [(-22.091,244.595),(-25.326,245.021),(-24.674,249.979),(-21.438,249.553)],
  [(-16.161,241.339),(-17.929,242.071),(-18.661,243.839),(-17.929,245.607),(-16.161,246.339),(-14.393,245.607),(-13.661,243.839),(-14.393,242.071)],
  [(-18.75,243.325),(-20.518,244.058),(-21.25,245.825),(-20.518,247.593),(-18.75,248.325),(-16.982,247.593),(-16.25,245.825),(-16.982,244.058)],
  [(-21.765,244.574),(-23.533,245.306),(-24.265,247.074),(-23.533,248.842),(-21.765,249.574),(-19.997,248.842),(-19.265,247.074),(-19.997,245.306)])

lib.write_gds('fig1_P07.gds')
